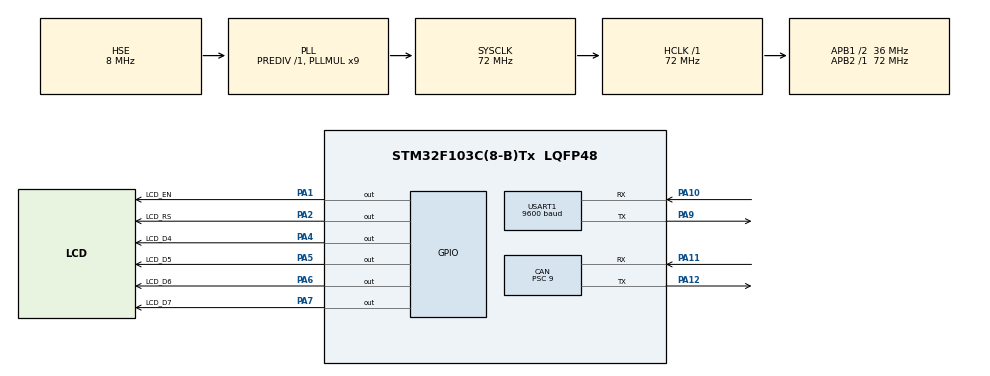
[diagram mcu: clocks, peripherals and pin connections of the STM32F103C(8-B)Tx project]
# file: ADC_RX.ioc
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CAN.BS1=CAN_BS1_2TQ
CAN.CalculateBaudRate=1000000
CAN.CalculateTimeBit=1000.00
CAN.CalculateTimeQuantum=250.0
CAN.Prescaler=9
Mcu.Family=STM32F1
Mcu.Name=STM32F103C(8-B)Tx
Mcu.Package=LQFP48
NVIC.PriorityGroup=NVIC_PRIORITYGROUP_4
NVIC.USB_LP_CAN1_RX0_IRQn=true\:0\:0\:false\:false\:true\:true\:true
PA1.GPIO_Label=LCD_EN
PA1.Signal=GPIO_Output
PA10.Mode=Asynchronous
PA10.Signal=USART1_RX
PA11.Mode=CAN_Activate
PA11.Signal=CAN_RX
PA12.Mode=CAN_Activate
PA12.Signal=CAN_TX
PA13.Mode=Serial_Wire
PA13.Signal=SYS_JTMS-SWDIO
PA14.Mode=Serial_Wire
PA14.Signal=SYS_JTCK-SWCLK
PA2.GPIO_Label=LCD_RS
PA2.Signal=GPIO_Output
PA4.GPIO_Label=LCD_D4
PA4.Signal=GPIO_Output
PA5.GPIO_Label=LCD_D5
PA5.Signal=GPIO_Output
PA6.GPIO_Label=LCD_D6
PA6.Signal=GPIO_Output
PA7.GPIO_Label=LCD_D7
PA7.Signal=GPIO_Output
PA9.Mode=Asynchronous
PA9.Signal=USART1_TX
PD0-OSC_IN.Mode=HSE-External-Oscillator
PD0-OSC_IN.Signal=RCC_OSC_IN
PD1-OSC_OUT.Mode=HSE-External-Oscillator
PD1-OSC_OUT.Signal=RCC_OSC_OUT
ProjectManager.HeapSize=0x200
ProjectManager.StackSize=0x400
ProjectManager.TargetToolchain=MDK-ARM V5.27
RCC.AHBFreq_Value=72000000
RCC.APB1CLKDivider=RCC_HCLK_DIV2
RCC.APB1Freq_Value=36000000
RCC.APB1TimFreq_Value=72000000
RCC.APB2Freq_Value=72000000
RCC.APB2TimFreq_Value=72000000
RCC.HCLKFreq_Value=72000000
RCC.PLLMUL=RCC_PLL_MUL9
RCC.PLLSourceVirtual=RCC_PLLSOURCE_HSE
RCC.SYSCLKFreq_VALUE=72000000
RCC.SYSCLKSource=RCC_SYSCLKSOURCE_PLLCLK
RCC.USBFreq_Value=72000000
USART1.BaudRate=9600
USART1.VirtualMode=VM_ASYNC
board=custom

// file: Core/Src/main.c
/* USER CODE BEGIN Header */
/**
  ******************************************************************************
  * @file           : main.c
  * @brief          : Main program body
  ******************************************************************************
  * @attention
  *
  * <h2><center>&copy; Copyright (c) 2022 STMicroelectronics.
  * All rights reserved.</center></h2>
  *
  * This software component is licensed by ST under BSD 3-Clause license,
  * the "License"; You may not use this file except in compliance with the
  * License. You may obtain a copy of the License at:
  *                        opensource.org/licenses/BSD-3-Clause
  *
  ******************************************************************************
  */
/* USER CODE END Header */
#include "main.h"

/* USER CODE BEGIN Includes */
#include "stdio.h"
#include "string.h"
/* USER CODE END Includes */

CAN_HandleTypeDef hcan;

UART_HandleTypeDef huart1;

/* USER CODE BEGIN PV */
CAN_TxHeaderTypeDef pHeader;
CAN_RxHeaderTypeDef pRxHeader;
CAN_FilterTypeDef sFilterConfig;

uint8_t rAdcValue;
char yazi[16] = " ";
char MSG[35] = {'\0'};
/* USER CODE END PV */

void SystemClock_Config(void);
static void MX_GPIO_Init(void);
static void MX_CAN_Init(void);
static void MX_USART1_UART_Init(void);

/* USER CODE BEGIN 0 */
uint8_t Cmd_End[3] = {0xFF,0xFF,0xFF};  // command end sequence

void NEXTION_SendString (char *ID, char *string)
{
	char buf[50];
	int len = sprintf (buf, "%s.txt=\"%s\"", ID, string);
	HAL_UART_Transmit(&huart1, (uint8_t *)buf, len, 1000);
	HAL_UART_Transmit(&huart1, Cmd_End, 3, 100);
}
/* USER CODE END 0 */

int main(void)
{

  /* MCU Configuration--------------------------------------------------------*/

  /* Reset of all peripherals, Initializes the Flash interface and the Systick. */
  HAL_Init();

  /* Configure the system clock */
  SystemClock_Config();

  /* Initialize all configured peripherals */
  MX_GPIO_Init();
  MX_CAN_Init();
  MX_USART1_UART_Init();
  /* USER CODE BEGIN 2 */

	pHeader.DLC = 1;
	pHeader.IDE = CAN_ID_STD;
	pHeader.RTR = CAN_RTR_DATA;
	pHeader.StdId = 0x0002;

	sFilterConfig.FilterActivation = ENABLE;
	sFilterConfig.FilterBank = 0;
	sFilterConfig.FilterFIFOAssignment = CAN_FILTER_FIFO0;
	sFilterConfig.FilterIdHigh = 0x0000;
	sFilterConfig.FilterIdLow = 0x0000;
	sFilterConfig.FilterMaskIdHigh = 0x0000;
	sFilterConfig.FilterIdLow = 0x0000;
	sFilterConfig.FilterMode = CAN_FILTERMODE_IDMASK;
	sFilterConfig.FilterScale = CAN_FILTERSCALE_16BIT;

	HAL_CAN_ConfigFilter(&hcan,&sFilterConfig);

	HAL_CAN_Start(&hcan);
	HAL_CAN_ActivateNotification(&hcan,CAN_IT_RX_FIFO0_MSG_PENDING);
  /* USER CODE END 2 */

  /* Infinite loop */
  while (1)
  {

    /* USER CODE BEGIN 3 */
		sprintf(yazi,"%u    ",rAdcValue);

		sprintf(MSG, "Data = %d\r\n", rAdcValue);
    HAL_UART_Transmit(&huart1, (uint8_t*)MSG, sizeof(MSG), 100);
    HAL_Delay(100);

  }
  /* USER CODE END 3 */
}

void SystemClock_Config(void)
{
  RCC_OscInitTypeDef RCC_OscInitStruct = {0};
  RCC_ClkInitTypeDef RCC_ClkInitStruct = {0};

  /** Initializes the RCC Oscillators according to the specified parameters
  * in the RCC_OscInitTypeDef structure.
  */
  RCC_OscInitStruct.OscillatorType = RCC_OSCILLATORTYPE_HSE;
  RCC_OscInitStruct.HSEState = RCC_HSE_ON;
  RCC_OscInitStruct.HSEPredivValue = RCC_HSE_PREDIV_DIV1;
  RCC_OscInitStruct.HSIState = RCC_HSI_ON;
  RCC_OscInitStruct.PLL.PLLState = RCC_PLL_ON;
  RCC_OscInitStruct.PLL.PLLSource = RCC_PLLSOURCE_HSE;
  RCC_OscInitStruct.PLL.PLLMUL = RCC_PLL_MUL9;
  if (HAL_RCC_OscConfig(&RCC_OscInitStruct) != HAL_OK)
  {
    Error_Handler();
  }
  /** Initializes the CPU, AHB and APB buses clocks
  */
  RCC_ClkInitStruct.ClockType = RCC_CLOCKTYPE_HCLK|RCC_CLOCKTYPE_SYSCLK
                              |RCC_CLOCKTYPE_PCLK1|RCC_CLOCKTYPE_PCLK2;
  RCC_ClkInitStruct.SYSCLKSource = RCC_SYSCLKSOURCE_PLLCLK;
  RCC_ClkInitStruct.AHBCLKDivider = RCC_SYSCLK_DIV1;
  RCC_ClkInitStruct.APB1CLKDivider = RCC_HCLK_DIV2;
  RCC_ClkInitStruct.APB2CLKDivider = RCC_HCLK_DIV1;

  if (HAL_RCC_ClockConfig(&RCC_ClkInitStruct, FLASH_LATENCY_2) != HAL_OK)
  {
    Error_Handler();
  }
}

static void MX_CAN_Init(void)
{

  hcan.Instance = CAN1;
  hcan.Init.Prescaler = 9;
  hcan.Init.Mode = CAN_MODE_NORMAL;
  hcan.Init.SyncJumpWidth = CAN_SJW_1TQ;
  hcan.Init.TimeSeg1 = CAN_BS1_2TQ;
  hcan.Init.TimeSeg2 = CAN_BS2_1TQ;
  hcan.Init.TimeTriggeredMode = DISABLE;
  hcan.Init.AutoBusOff = DISABLE;
  hcan.Init.AutoWakeUp = DISABLE;
  hcan.Init.AutoRetransmission = DISABLE;
  hcan.Init.ReceiveFifoLocked = DISABLE;
  hcan.Init.TransmitFifoPriority = DISABLE;
  if (HAL_CAN_Init(&hcan) != HAL_OK)
  {
    Error_Handler();
  }

}

static void MX_USART1_UART_Init(void)
{

  huart1.Instance = USART1;
  huart1.Init.BaudRate = 9600;
  huart1.Init.WordLength = UART_WORDLENGTH_8B;
  huart1.Init.StopBits = UART_STOPBITS_1;
  huart1.Init.Parity = UART_PARITY_NONE;
  huart1.Init.Mode = UART_MODE_TX_RX;
  huart1.Init.HwFlowCtl = UART_HWCONTROL_NONE;
  huart1.Init.OverSampling = UART_OVERSAMPLING_16;
  if (HAL_UART_Init(&huart1) != HAL_OK)
  {
    Error_Handler();
  }

}

static void MX_GPIO_Init(void)
{
  GPIO_InitTypeDef GPIO_InitStruct = {0};

  /* GPIO Ports Clock Enable */
  __HAL_RCC_GPIOD_CLK_ENABLE();
  __HAL_RCC_GPIOA_CLK_ENABLE();

  /*Configure GPIO pin Output Level */
  HAL_GPIO_WritePin(GPIOA, LCD_EN_Pin|LCD_RS_Pin|LCD_D4_Pin|LCD_D5_Pin
                          |LCD_D6_Pin|LCD_D7_Pin, GPIO_PIN_RESET);

  /*Configure GPIO pins : LCD_EN_Pin LCD_RS_Pin LCD_D4_Pin LCD_D5_Pin
                           LCD_D6_Pin LCD_D7_Pin */
  GPIO_InitStruct.Pin = LCD_EN_Pin|LCD_RS_Pin|LCD_D4_Pin|LCD_D5_Pin
                          |LCD_D6_Pin|LCD_D7_Pin;
  GPIO_InitStruct.Mode = GPIO_MODE_OUTPUT_PP;
  GPIO_InitStruct.Pull = GPIO_NOPULL;
  GPIO_InitStruct.Speed = GPIO_SPEED_FREQ_LOW;
  HAL_GPIO_Init(GPIOA, &GPIO_InitStruct);

}

void Error_Handler(void)
{
  __disable_irq();
  while (1)
  {
  }
}

/************************ (C) COPYRIGHT STMicroelectronics *****END OF FILE****/
